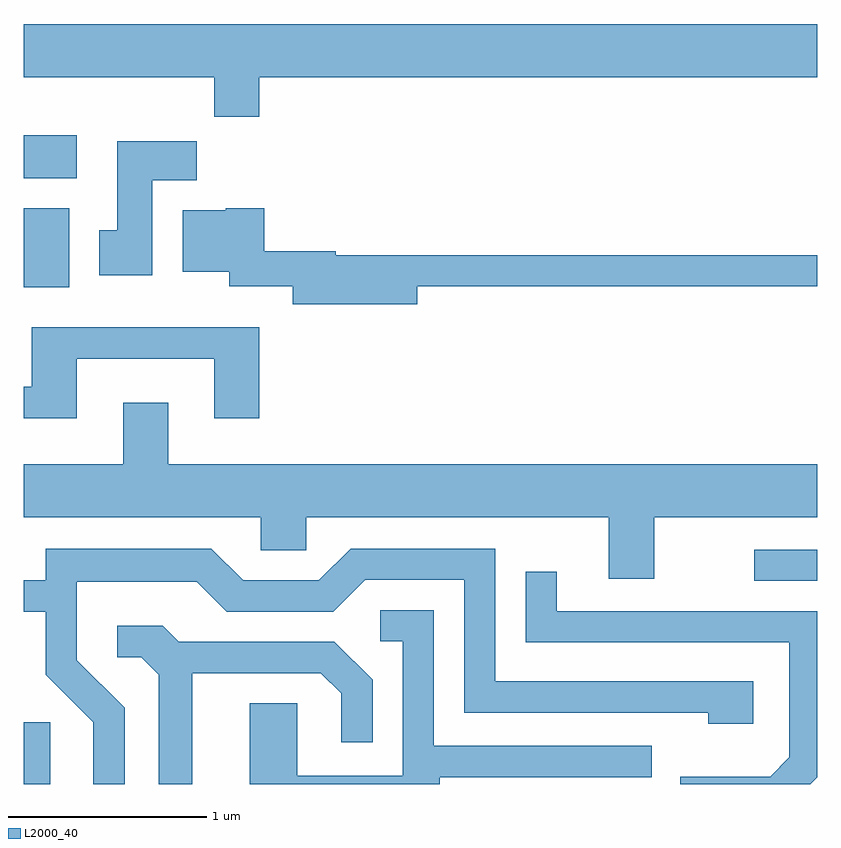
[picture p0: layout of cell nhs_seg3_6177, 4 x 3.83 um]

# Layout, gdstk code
import gdstk
lib = gdstk.Library(unit=1e-6, precision=1e-09)
def R(c, l, rs):  # rectangles x0, y0, x1, y1
    for r in rs: c.add(gdstk.rectangle(r[:2], r[2:], *l))
def P(c, l, *ps):  # polygons
    for p in ps: c.add(gdstk.Polygon(p, *l))
L2000_40 = (2000, 40)

nhs_seg3_6177 = lib.new_cell('nhs_seg3_6177')
R(nhs_seg3_6177, L2000_40, [(365.611,1237.892,365.744,1238.204), (369.293,1238.916,369.611,1239.074), (365.611,1240.396,365.839,1240.794), (365.611,1240.946,365.879,1241.164)])
P(nhs_seg3_6177, L2000_40, [(366.799,1241.456),(369.611,1241.456),(369.611,1241.724),(365.611,1241.724),(365.611,1241.456),(366.571,1241.456),(366.571,1241.256),(366.799,1241.256)],
  [(366.259,1240.936),(366.484,1240.936),(366.484,1241.134),(366.081,1241.134),(366.081,1240.684),(365.991,1240.684),(365.991,1240.456),(366.259,1240.456)],
  [(367.594,1240.401),(369.611,1240.401),(369.611,1240.559),(367.184,1240.559),(367.184,1240.579),(366.824,1240.579),(366.824,1240.794),(366.63,1240.794),(366.63,1240.784),(366.411,1240.784),(366.411,1240.476),(366.646,1240.476),(366.646,1240.401),(366.966,1240.401),(366.966,1240.311),(367.594,1240.311)],
  [(365.879,1240.036),(366.571,1240.036),(366.571,1239.736),(366.799,1239.736),(366.799,1240.194),(365.651,1240.194),(365.651,1239.894),(365.611,1239.894),(365.611,1239.736),(365.879,1239.736)],
  [(368.789,1239.236),(369.611,1239.236),(369.611,1239.504),(366.339,1239.504),(366.339,1239.814),(366.111,1239.814),(366.111,1239.504),(365.611,1239.504),(365.611,1239.236),(366.806,1239.236),(366.806,1239.071),(367.034,1239.071),(367.034,1239.236),(368.561,1239.236),(368.561,1238.926),(368.789,1238.926)],
  [(366.119,1238.277),(365.879,1238.517),(365.879,1238.911),(366.484,1238.911),(366.634,1238.761),(367.172,1238.761),(367.332,1238.921),(367.831,1238.921),(367.831,1238.251),(369.061,1238.251),(369.061,1238.196),(369.289,1238.196),(369.289,1238.409),(367.989,1238.409),(367.989,1239.079),(367.259,1239.079),(367.099,1238.919),(366.717,1238.919),(366.557,1239.079),(365.721,1239.079),(365.721,1238.919),(365.611,1238.919),(365.611,1238.761),(365.721,1238.761),(365.721,1238.444),(365.961,1238.204),(365.961,1237.892),(366.119,1237.892)],
  [(369.611,1237.926),(369.611,1238.764),(368.299,1238.764),(368.299,1238.963),(368.141,1238.963),(368.141,1238.606),(369.471,1238.606),(369.471,1238.027),(369.374,1237.929),(368.921,1237.929),(368.921,1237.892),(369.577,1237.892)],
  [(367.709,1237.926),(368.778,1237.926),(368.778,1238.084),(367.679,1238.084),(367.679,1238.769),(367.408,1238.769),(367.408,1238.611),(367.521,1238.611),(367.521,1237.934),(366.989,1237.934),(366.989,1238.299),(366.751,1238.299),(366.751,1237.892),(367.709,1237.892)],
  [(366.459,1238.451),(367.109,1238.451),(367.211,1238.349),(367.211,1238.103),(367.369,1238.103),(367.369,1238.417),(367.177,1238.609),(366.392,1238.609),(366.312,1238.689),(366.083,1238.689),(366.083,1238.531),(366.204,1238.531),(366.291,1238.444),(366.291,1237.892),(366.459,1237.892)])

lib.write_gds('nhs_seg3_6177.gds')
